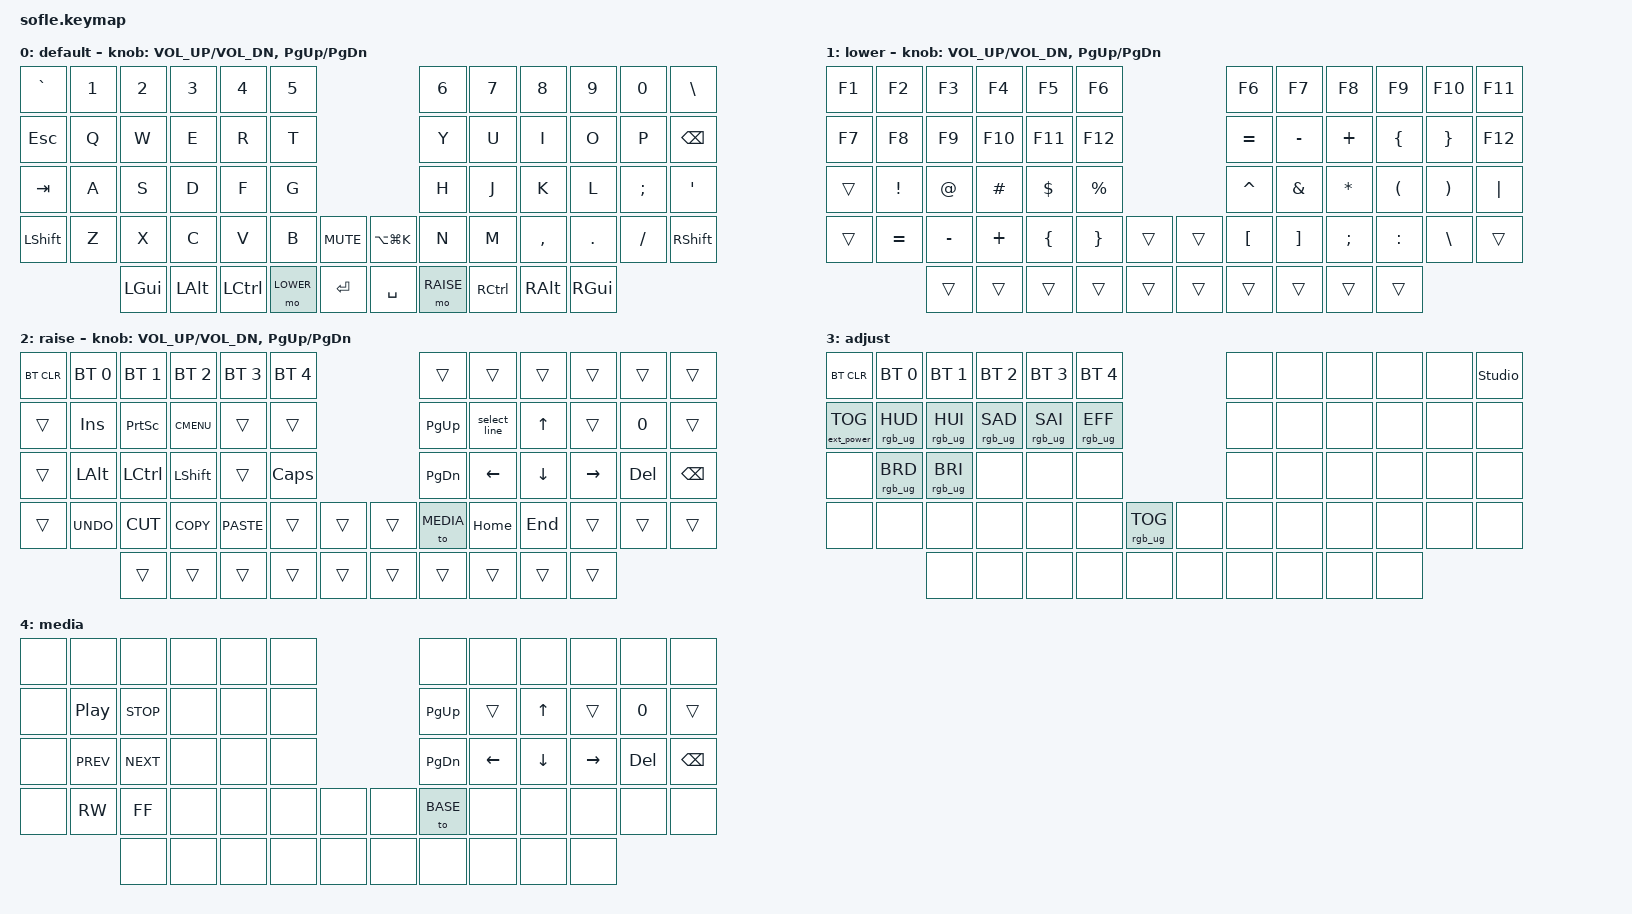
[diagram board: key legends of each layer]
/*
 * Copyright (c) 2020 The ZMK Contributors
 *
 * SPDX-License-Identifier: MIT
 */

#include <behaviors.dtsi>
#include <dt-bindings/zmk/keys.h>
#include <dt-bindings/zmk/bt.h>
#include <dt-bindings/zmk/rgb.h>
#include <dt-bindings/zmk/ext_power.h>

#include <dt-bindings/led/led.h>

#define BASE 0
#define LOWER 1
#define RAISE 2
#define ADJUST 3
#define MEDIA 4

/ {
    macros {
        compatible = "zmk,macros";

        /* Select whole line: HOME, hold SHIFT, END, release SHIFT */
        ZMK_MACRO(select_line,
            wait-ms = <10>; /* small delay before starting */
            bindings
                = <&kp HOME>
                , <&macro_press &kp LSHFT>
                , <&kp END>
                , <&macro_release &kp LSHFT>
                ;
        )
    };
};

&pinctrl {
    spi3_default: spi3_default {
        group1 {
            psels = <NRF_PSEL(SPIM_MOSI, 0, 8)>;
        };
    };

    spi3_sleep: spi3_sleep {
        group1 {
            psels = <NRF_PSEL(SPIM_MOSI, 0, 8)>;
            low-power-enable;
        };
    };
};

&spi3 {
    compatible = "nordic,nrf-spim";
    status = "okay";

    pinctrl-0 = <&spi3_default>;
    pinctrl-1 = <&spi3_sleep>;
    pinctrl-names = "default", "sleep";

    led_strip: ws2812@0 {
        compatible = "worldsemi,ws2812-spi";

        /* SPI */
        reg = <0>; /* ignored, but necessary for SPI bindings */
        spi-max-frequency = <4000000>;

        /* WS2812 */
        chain-length = <30>; /* arbitrary; change at will */
        spi-one-frame = <0x70>;
        spi-zero-frame = <0x40>;

        color-mapping = <
            LED_COLOR_ID_GREEN
            LED_COLOR_ID_RED
            LED_COLOR_ID_BLUE
        >;
    };
};

/ {
    chosen {
        zmk,underglow = &led_strip;
    };
};





/ {

   // Activate ADJUST layer by pressing raise and lower
    conditional_layers {
        compatible = "zmk,conditional-layers";
        adjust_layer {
            if-layers = <LOWER RAISE>;
            then-layer = <ADJUST>;
        };
    };




    keymap {
        compatible = "zmk,keymap";

        default_layer {
            display-name = "default";
// ------------------------------------------------------------------------------------------------------------
// |   `   |  1  |  2  |  3   |  4   |  5   |                   |  6   |  7    |  8    |  9   |   0   |  \|   |
// |  ESC  |  Q  |  W  |  E   |  R   |  T   |                   |  Y   |  U    |  I    |  O   |   P   | BKSPC |
// |  TAB  |  A  |  S  |  D   |  F   |  G   |                   |  H   |  J    |  K    |  L   |   ;   |   '   |
// | SHIFT |  Z  |  X  |  C   |  V   |  B   |  MUTE  |  |MUTEMIC|  N   |  M    |  ,    |  .   |   /   | SHIFT |
//               | GUI | ALT  | CTRL | LOWER|  ENTER |  | SPACE | RAISE| CTRL  | ALT   | GUI  |
            bindings = <
&kp GRAVE &kp N1 &kp N2   &kp N3   &kp N4    &kp N5                               &kp N6 &kp N7    &kp N8    &kp N9   &kp N0   &kp BSLH
&kp ESC   &kp Q  &kp W    &kp E    &kp R     &kp T                                &kp Y  &kp U     &kp I     &kp O    &kp P    &kp BSPC
&kp TAB   &kp A  &kp S    &kp D    &kp F     &kp G                                &kp H  &kp J     &kp K     &kp L    &kp SEMI &kp SQT
&kp LSHFT &kp Z  &kp X    &kp C    &kp V     &kp B      &kp C_MUTE &kp LA(LG(K))  &kp N  &kp M     &kp COMMA &kp DOT  &kp FSLH &kp RSHFT
                 &kp LGUI &kp LALT &kp LCTRL &mo LOWER  &kp RET    &kp SPACE      &mo RAISE  &kp RCTRL &kp RALT  &kp RGUI
            >;

            sensor-bindings = <&inc_dec_kp C_VOL_UP C_VOL_DN &inc_dec_kp PG_UP PG_DN>;
        };

        lower_layer {
            display-name = "lower";
// TODO: Some binds are waiting for shifted keycode support.
// ------------------------------------------------------------------------------------------------------------
// |   F1  |  F2 |  F3 |  F4  |  F5  | F6   |                   |  F6  |  F7   |  F8   |  F9  |  F10  |  F11  |
// |   F7  |  F8 |  F9 |  F10 |  F11 |  F12 |                   |   =  |  -    |  +    |  {   |  }    |  F12  |
// |       |  !  |  @  |  #   |  $   |  %   |                   |  ^   |  &    |  *    |  (   |   )   |   |   |
// |       |  =  |  -  |  +   |  {   |  }   |        |  |       |  [   |  ]    |  ;    |  :   |   \   |       |
//               |     |      |      |      |        |  |       |      |       |       |      |
            bindings = <
&kp F1    &kp F2    &kp F3      &kp F4    &kp F5    &kp F6                    &kp F6    &kp F7   &kp F8    &kp F9    &kp F10   &kp F11
&kp F7    &kp F8    &kp F9    &kp F10     &kp F11   &kp F12                   &kp EQUAL &kp MINUS &kp PLUS &kp LBRC  &kp RBRC  &kp F12
&trans    &kp EXCL  &kp AT    &kp HASH    &kp DLLR  &kp PRCNT                 &kp CARET &kp AMPS &kp ASTRK &kp LPAR  &kp RPAR  &kp PIPE
&trans    &kp EQUAL &kp MINUS &kp PLUS &kp LBRC  &kp RBRC   &trans &trans  &kp LBKT  &kp RBKT &kp SEMI  &kp COLON &kp BSLH  &trans
                    &trans    &trans      &trans    &trans     &trans &trans  &trans    &trans   &trans    &trans
            >;

            sensor-bindings = <&inc_dec_kp C_VOL_UP C_VOL_DN &inc_dec_kp PG_UP PG_DN>;
        };

        raise_layer {
            display-name = "raise";
// ----------------------------------------------------------------------------------------------------------------
// | BTCLR | BT1  | BT2  |  BT3  |  BT4  |  BT5 |                |      |      |       |      |       |           |
// |       | INS  | PSCR | GUI   |       |      |                | PGUP | selLn|   ^   |      |       |           |
// |       | ALT  | CTRL | SHIFT |       | CAPS |                | PGDN |   <- |   v   |  ->  |  DEL  | BKSPC     |
// |       | UNDO | CUT  | COPY  | PASTE |      |      |  |      | MEDIA| Home |  End  |      |       |           |
//                |      |       |       |      |      |  |      |      |      |       |      |
            bindings = <
&bt BT_CLR &bt BT_SEL 0 &bt BT_SEL 1 &bt BT_SEL 2 &bt BT_SEL 3 &bt BT_SEL 4                  &trans    &trans       &trans   &trans    &trans  &trans
&trans     &kp INS      &kp PSCRN    &kp K_CMENU  &trans       &trans                        &kp PG_UP &select_line &kp UP   &trans    &kp N0  &trans
&trans     &kp LALT     &kp LCTRL    &kp LSHFT    &trans       &kp CLCK                      &kp PG_DN &kp LEFT     &kp DOWN &kp RIGHT &kp DEL &kp BSPC
&trans     &kp K_UNDO   &kp K_CUT    &kp K_COPY   &kp K_PASTE  &trans        &trans  &trans  &to MEDIA &kp HOME     &kp END   &trans    &trans  &trans
                        &trans       &trans       &trans       &trans        &trans  &trans  &trans    &trans       &trans   &trans
            >;

            sensor-bindings = <&inc_dec_kp C_VOL_UP C_VOL_DN &inc_dec_kp PG_UP PG_DN>;
        };

        adjust_layer {
// ----------------------------------------------------------------------------------------------------------------------------
// | BTCLR  |  BT1    |  BT2    |   BT3   |   BT4   |   BT5   |                  |      |      |       |      |       |  st_unlock |
// | EXTPWR | RGB_HUD | RGB_HUI | RGB_SAD | RGB_SAI | RGB_EFF |                  |      |      |       |      |       |            |
// |        | RGB_BRD | RGB_BRI |         |         |         |                  |      |      |       |      |       |            |
// |        |         |         |         |         |         | RGB_TOG | |      |      |      |       |      |       |            |
//                    |         |         |         |         |         | |      |      |      |       |      |
            display-name = "adjust";
            bindings = <
&bt BT_CLR        &bt BT_SEL 0    &bt BT_SEL 1    &bt BT_SEL 2    &bt BT_SEL 3    &bt BT_SEL 4                            &none &none &none &none &none &studio_unlock
&ext_power EP_TOG &rgb_ug RGB_HUD &rgb_ug RGB_HUI &rgb_ug RGB_SAD &rgb_ug RGB_SAI &rgb_ug RGB_EFF                         &none &none &none &none &none &none
&none             &rgb_ug RGB_BRD &rgb_ug RGB_BRI &none           &none           &none                                   &none &none &none &none &none &none
&none             &none           &none           &none           &none           &none            &rgb_ug RGB_TOG &none  &none &none &none &none &none &none
                                  &none           &none           &none           &none            &none           &none  &none &none &none &none
            >;
        };

        media_layer {
// ----------------------------------------------------------------------------------------------------------------------------
// |        |                  |         |         |         |         |                     |         |         |          |         |         |          |
// |        | C_PLAY_PAUSE     |  C_STOP |         |         |         |                     |  PGUP   |         |   ^      |         |         |          |
// |        | C_PREV           |  C_NEXT |         |         |         |                     |  PGDN   |   <-    |   v      |  ->     |  DEL    |   BKSPC  |
// |        | C_RW             |  C_FF   |         |         |         |         | |         |         |         |          |         |         |          |
//                             |         |         |         |         |         | |         |         |         |          |         |
            display-name = "media";
            bindings = <
&none        &none               &none      &none     &none     &none                          &none      &none     &none      &none     &none     &none
&none        &kp C_PLAY_PAUSE    &kp C_STOP &none     &none     &none                          &kp PG_UP  &trans    &kp UP     &trans    &kp N0    &trans
&none        &kp C_PREV          &kp C_NEXT &none     &none     &none                          &kp PG_DN  &kp LEFT  &kp DOWN   &kp RIGHT &kp DEL   &kp BSPC
&none        &kp C_RW            &kp C_FF   &none     &none     &none     &none      &none     &to BASE   &none     &none      &none     &none     &none
                                 &none      &none     &none     &none     &none      &none     &none      &none     &none      &none
            >;
        };

        extra_2 {
            status = "reserved";
        };

        extra_3 {
            status = "reserved";
        };

    };
};
